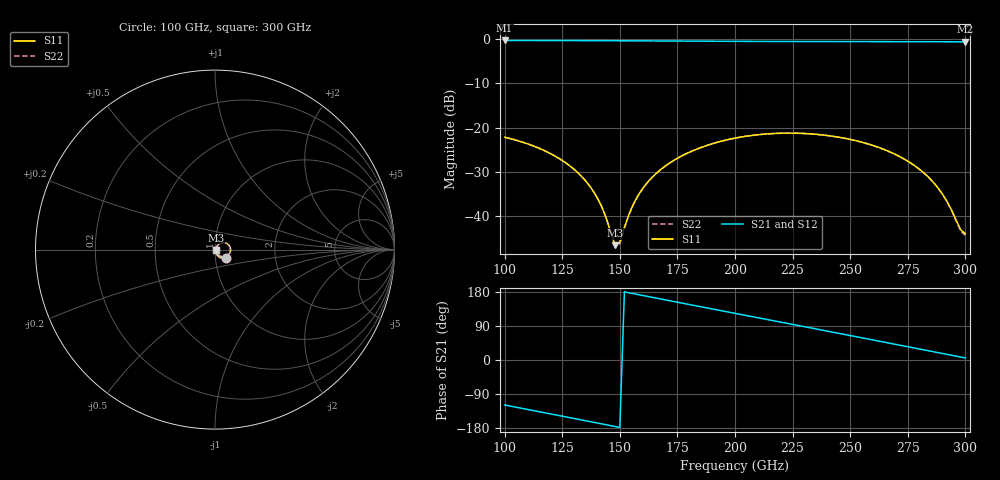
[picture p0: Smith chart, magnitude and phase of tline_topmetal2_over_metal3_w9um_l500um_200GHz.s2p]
#  GHZ S DB R 50
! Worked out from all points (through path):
!   101 points, 100 GHz to 300 GHz, reference 50 ohm
!   highest |S21| = -0.38 dB at 100 GHz (marker M1); lowest = -0.7 dB at 300 GHz (marker M2)
!   group delay of S21, straight-line fit = 3.27 ps
!   lowest |S11| = -46.6 dB at 148 GHz (marker M3), VSWR 1.01, Z = 50.4 - j0.167 ohm
!   |S11| at or under -10 dB: start of sweep to end of sweep
!   |S22| runs from -46.7 to -21.3 dB; largest |S21 - S12| = 1.1e-14
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100  -22.19 -38.5  -0.38 -118.7  -0.38 -118.7  -22.18 -38.8
120  -25.91 -58.6  -0.39 -142.3  -0.39 -142.3  -25.89 -59.0
134  -31.35 -69.6  -0.41 -158.9  -0.41 -158.9  -31.32 -70.2
138  -33.97 -70.6  -0.42 -163.7  -0.42 -163.7  -33.94 -71.3
142  -37.69 -67.8  -0.43 -168.4  -0.43 -168.4  -37.65 -68.8
148  -46.57 -20.7  -0.44 -175.5  -0.44 -175.5  -46.75 -22.7
150  -45.89 20.6  -0.44 -177.9  -0.44 -177.9  -46.16 19.9
154  -39.52 53.6  -0.45 177.3  -0.45 177.3  -39.64 53.6
158  -35.26 59.3  -0.46 172.6  -0.46 172.6  -35.32 59.3
162  -32.38 59.3  -0.47 167.9  -0.47 167.9  -32.41 59.2
168  -29.37 56.0  -0.49 160.8  -0.49 160.8  -29.39 55.8
182  -25.16 43.8  -0.53 144.3  -0.53 144.3  -25.17 43.4
200  -22.39 25.1  -0.58 123.2  -0.58 123.2  -22.40 24.7
218  -21.32 5.2  -0.60 102.1  -0.60 102.1  -21.33 4.7
234  -21.48 -12.5  -0.62 83.3  -0.62 83.3  -21.48 -13.1
250  -22.68 -29.8  -0.63 64.5  -0.63 64.5  -22.68 -30.5
268  -25.67 -48.1  -0.64 43.3  -0.64 43.3  -25.67 -49.0
278  -28.61 -56.6  -0.65 31.5  -0.65 31.5  -28.62 -57.6
286  -32.29 -60.4  -0.66 22.0  -0.66 22.0  -32.31 -61.6
292  -36.64 -56.7  -0.67 14.9  -0.67 14.9  -36.71 -58.3
298  -43.09 -24.2  -0.68 7.8  -0.68 7.8  -43.40 -25.7
300  -43.93 2.8  -0.69 5.4  -0.69 5.4  -44.30 2.4
